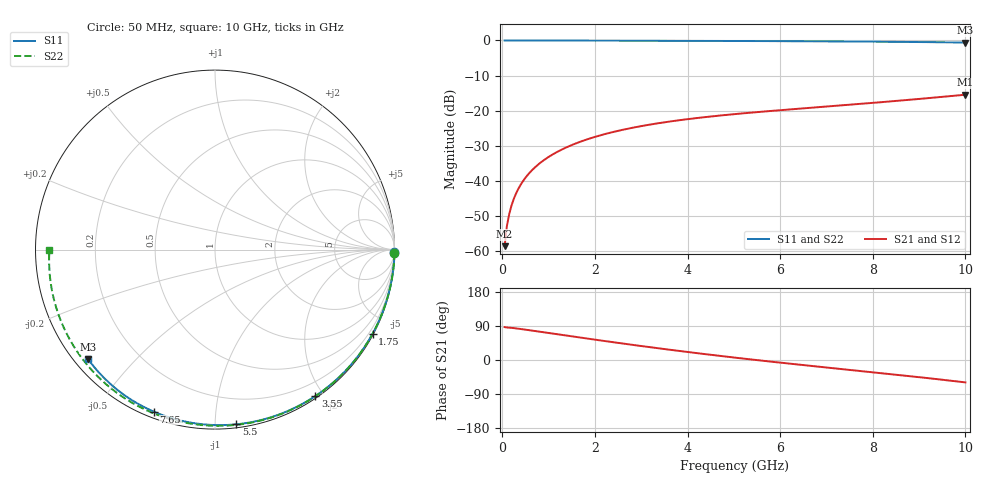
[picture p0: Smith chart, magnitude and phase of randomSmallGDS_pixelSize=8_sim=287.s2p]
! freq	dB(S11)	phase(S11)	dB(S12)	phase(S12)
!  dB(S21)	phase(S21)	dB(S22)	phase(S22)
!S-par simulation data
#  GHz  S  DB  R 50
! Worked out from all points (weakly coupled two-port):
!   200 points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, 50 MHz to 10 GHz, reference 50 ohm
!   highest |S21| = -15.46 dB at 10 GHz (marker M1); lowest = -58.6 dB at 50 MHz (marker M2)
!   lowest |S11| = -0.6 dB at 10 GHz (marker M3), VSWR 29.34, Z = 1.94 - j18.6 ohm
!   |S11| at or under -10 dB: nowhere
!   |S22| runs from -0.7 to 0.0 dB; largest |S21 - S12| = 0
!   S11 on the Smith chart (normalised r, x): 50 MHz: open; 1.75 GHz: 0.04, -3.99; 3.55 GHz: 0.02, -1.90; 5.5 GHz: 0.02, -1.13; 7.65 GHz: 0.03, -0.69; 10 GHz: 0.04, -0.37
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0.05  -0.00 -0.8  -58.62 86.8  -58.62 86.8  -0.00 -1.0
0.1  -0.00 -1.6  -52.84 85.9  -52.84 85.9  -0.00 -2.1
0.15  -0.00 -2.5  -49.43 85.4  -49.43 85.4  -0.00 -3.1
0.2  -0.00 -3.3  -46.98 84.8  -46.98 84.8  -0.00 -4.1
0.25  -0.00 -4.1  -45.08 84.1  -45.08 84.1  -0.00 -5.2
0.35  -0.00 -5.7  -42.19 82.6  -42.19 82.6  -0.01 -7.2
0.5  -0.01 -8.2  -39.12 80.1  -39.12 80.1  -0.01 -10.3
0.7  -0.01 -11.4  -36.23 76.6  -36.23 76.6  -0.02 -14.4
1  -0.02 -16.2  -33.19 71.3  -33.19 71.3  -0.03 -20.5
1.35  -0.03 -21.8  -30.67 65.1  -30.67 65.1  -0.04 -27.5
1.75  -0.04 -28.1  -28.54 58.0  -28.54 58.0  -0.05 -35.5
2.6  -0.06 -41.3  -25.46 43.5  -25.46 43.5  -0.08 -52.0
3.4  -0.09 -53.4  -23.52 30.4  -23.52 30.4  -0.11 -67.0
3.55  -0.09 -55.6  -23.22 28.1  -23.22 28.1  -0.11 -69.8
4.3  -0.12 -66.4  -21.96 16.7  -21.96 16.7  -0.14 -83.2
5.05  -0.15 -76.9  -20.95 5.9  -20.95 5.9  -0.18 -96.3
5.5  -0.17 -83.0  -20.42 -0.3  -20.42 -0.3  -0.20 -103.9
6.7  -0.24 -98.7  -19.14 -16.0  -19.14 -16.0  -0.29 -123.7
7.65  -0.31 -110.7  -18.16 -27.9  -18.16 -27.9  -0.37 -139.3
8.35  -0.38 -119.2  -17.40 -36.8  -17.40 -36.8  -0.45 -150.9
9.2  -0.48 -129.5  -16.43 -47.9  -16.43 -47.9  -0.57 -165.4
10  -0.59 -139.1  -15.46 -59.1  -15.46 -59.1  -0.70 -179.9
